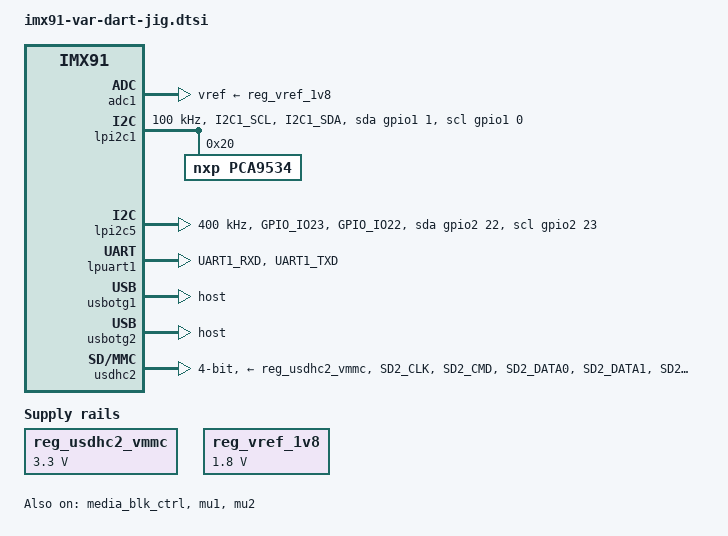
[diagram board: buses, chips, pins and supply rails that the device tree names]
// SPDX-License-Identifier: (GPL-2.0+ OR MIT)
/*
 * Copyright 2024 NXP
 * Copyright 2025 Variscite Ltd.
 */

/ {
	aliases {
		gpio4 = &pca9534;
		ethernet0 = &eqos;
	};

	chosen {
		stdout-path = &lpuart1;
	};

	reg_usdhc2_vmmc: regulator-usdhc2 {
		compatible = "regulator-fixed";
		regulator-name = "VSD_3V3";
		regulator-min-microvolt = <3300000>;
		regulator-max-microvolt = <3300000>;
	};

	reg_vref_1v8: regulator-adc-vref {
		compatible = "regulator-fixed";
		regulator-name = "vref_1v8";
		regulator-min-microvolt = <1800000>;
		regulator-max-microvolt = <1800000>;
	};

	reserved-memory {
		#address-cells = <2>;
		#size-cells = <2>;
		ranges;

		linux,cma {
			compatible = "shared-dma-pool";
			reusable;
			alloc-ranges = <0 0x80000000 0 0x40000000>;
			size = <0 0x10000000>;
			linux,cma-default;
		};

		ele_reserved: ele-reserved@95f00000 {
			compatible = "shared-dma-pool";
			reg = <0 0x95f00000 0 0x100000>;
			no-map;
		};
	};
};

&adc1 {
	vref-supply = <&reg_vref_1v8>;
	status = "okay";
};

/* Use external instead of internal RTC */
&bbnsm_rtc {
	status = "disabled";
};

&ele_fw2 {
	memory-region = <&ele_reserved>;
};

&iomuxc {
	pinctrl-names = "default";
	pinctrl-0 = <&pinctrl_hog>;
	
	pinctrl_hog: hoggrp {
		fsl,pins = <
			MX91_PAD_WDOG_ANY__GPIO1_IO15			0x400011FE
			MX91_PAD_GPIO_IO21__GPIO2_IO21			0x400011FE
			MX91_PAD_PDM_CLK__GPIO1_IO8			0x400011FE
			MX91_PAD_PDM_BIT_STREAM0__GPIO1_IO9		0x400011FE
			MX91_PAD_PDM_BIT_STREAM1__GPIO1_IO10            0x400011FE
			MX91_PAD_SD2_CD_B__GPIO3_IO0                   0x400011FE
			MX91_PAD_GPIO_IO05__GPIO2_IO5                  0x400011FE
			MX91_PAD_GPIO_IO04__GPIO2_IO4                  0x400011FE
			MX91_PAD_GPIO_IO20__GPIO2_IO20                  0x400011FE

			MX91_PAD_GPIO_IO18__GPIO2_IO18			0x400011FE
			MX91_PAD_GPIO_IO10__GPIO2_IO10			0x400011FE
			MX91_PAD_GPIO_IO25__GPIO2_IO25			0x400011FE            
			MX91_PAD_GPIO_IO17__GPIO2_IO17			0x400011FE
			MX91_PAD_GPIO_IO07__GPIO2_IO7			0x400011FE
			MX91_PAD_GPIO_IO06__GPIO2_IO6			0x400011FE
			MX91_PAD_GPIO_IO08__GPIO2_IO8			0x400011FE
			MX91_PAD_GPIO_IO24__GPIO2_IO24			0x400011FE
			MX91_PAD_GPIO_IO19__GPIO2_IO19			0x400011FE
			MX91_PAD_GPIO_IO16__GPIO2_IO16			0x400011FE
			MX91_PAD_GPIO_IO00__GPIO2_IO0			0x400011FE
			MX91_PAD_GPIO_IO01__GPIO2_IO1			0x400011FE
			MX91_PAD_GPIO_IO03__GPIO2_IO3			0x400011FE
			MX91_PAD_GPIO_IO02__GPIO2_IO2			0x400011FE
			MX91_PAD_GPIO_IO26__GPIO2_IO26			0x400011FE
			MX91_PAD_GPIO_IO27__GPIO2_IO27			0x400011FE
			MX91_PAD_GPIO_IO11__GPIO2_IO11			0x400011FE
			MX91_PAD_GPIO_IO09__GPIO2_IO9			0x400011FE

			MX91_PAD_CCM_CLKO2__GPIO3_IO27			0x400011FE
			MX91_PAD_ENET2_RD3__GPIO4_IO27			0x400011FE
			MX91_PAD_ENET2_TD2__GPIO4_IO17			0x400011FE
			MX91_PAD_ENET2_TXC__GPIO4_IO21			0x400011FE
			MX91_PAD_ENET2_RX_CTL__GPIO4_IO22		0x400011FE
			MX91_PAD_ENET2_RD0__GPIO4_IO24			0x400011FE
			MX91_PAD_ENET2_RD0__GPIO4_IO24			0x400011FE
			MX91_PAD_CCM_CLKO1__GPIO3_IO26			0x400011FE
			MX91_PAD_ENET2_TD1__GPIO4_IO18			0x400011FE
			MX91_PAD_ENET2_TD3__GPIO4_IO16			0x400011FE
			MX91_PAD_ENET2_RXC__GPIO4_IO23			0x400011FE
			MX91_PAD_ENET2_RD2__GPIO4_IO26			0x400011FE
			MX91_PAD_ENET2_TD0__GPIO4_IO19			0x400011FE
			MX91_PAD_CCM_CLKO3__GPIO4_IO28			0x400011FE
			MX91_PAD_ENET2_RD1__GPIO4_IO25			0x400011FE
			MX91_PAD_ENET2_TX_CTL__GPIO4_IO20		0x400011FE
		>;
	};

	pinctrl_lpi2c1: lpi2c1grp {
		fsl,pins = <
			MX91_PAD_I2C1_SCL__LPI2C1_SCL			0x40000b9e
			MX91_PAD_I2C1_SDA__LPI2C1_SDA			0x40000b9e
		>;
	};

	pinctrl_lpi2c1_gpio: lpi2c1grp-gpio {
		fsl,pins = <
			MX91_PAD_I2C1_SCL__GPIO1_IO0			0x31e
			MX91_PAD_I2C1_SDA__GPIO1_IO1			0x31e
		>;
	};

	pinctrl_lpi2c5: lpi2c5grp {
		fsl,pins = <
			MX91_PAD_GPIO_IO23__LPI2C5_SCL			0x40000b9e
			MX91_PAD_GPIO_IO22__LPI2C5_SDA			0x40000b9e
		>;
	};

	pinctrl_lpi2c5_gpio: lpi2c5grp-gpio {
		fsl,pins = <
			MX91_PAD_GPIO_IO23__GPIO2_IO23			0x31e
			MX91_PAD_GPIO_IO22__GPIO2_IO22			0x31e
		>;
	};

	pinctrl_uart1: uart1grp {
		fsl,pins = <
			MX91_PAD_UART1_RXD__LPUART1_RX			0x31e
			MX91_PAD_UART1_TXD__LPUART1_TX			0x31e
		>;
	};

	pinctrl_usdhc2: usdhc2grp {
		fsl,pins = <
			MX91_PAD_SD2_CLK__USDHC2_CLK			0x1582
			MX91_PAD_SD2_CMD__USDHC2_CMD			0x1382
			MX91_PAD_SD2_DATA0__USDHC2_DATA0		0x1382
			MX91_PAD_SD2_DATA1__USDHC2_DATA1		0x1382
			MX91_PAD_SD2_DATA2__USDHC2_DATA2		0x1382
			MX91_PAD_SD2_DATA3__USDHC2_DATA3		0x1382
			MX91_PAD_SD2_VSELECT__USDHC2_VSELECT		0x51e
		>;
	};

	pinctrl_usdhc2_100mhz: usdhc2-100mhzgrp {
		fsl,pins = <
			MX91_PAD_SD2_CLK__USDHC2_CLK			0x158e
			MX91_PAD_SD2_CMD__USDHC2_CMD			0x138e
			MX91_PAD_SD2_DATA0__USDHC2_DATA0		0x138e
			MX91_PAD_SD2_DATA1__USDHC2_DATA1		0x138e
			MX91_PAD_SD2_DATA2__USDHC2_DATA2		0x138e
			MX91_PAD_SD2_DATA3__USDHC2_DATA3		0x138e
			MX91_PAD_SD2_VSELECT__USDHC2_VSELECT		0x51e
		>;
	};

	pinctrl_usdhc2_200mhz: usdhc2-200mhzgrp {
		fsl,pins = <
			MX91_PAD_SD2_CLK__USDHC2_CLK			0x15fe
			MX91_PAD_SD2_CMD__USDHC2_CMD			0x13fe
			MX91_PAD_SD2_DATA0__USDHC2_DATA0		0x13fe
			MX91_PAD_SD2_DATA1__USDHC2_DATA1		0x13fe
			MX91_PAD_SD2_DATA2__USDHC2_DATA2		0x13fe
			MX91_PAD_SD2_DATA3__USDHC2_DATA3		0x13fe
			MX91_PAD_SD2_VSELECT__USDHC2_VSELECT		0x51e
		>;
	};

	pinctrl_usdhc2_sleep: usdhc2grpsleep {
		fsl,pins = <
			MX91_PAD_SD2_CLK__GPIO3_IO1			0x51e
			MX91_PAD_SD2_CMD__GPIO3_IO2			0x51e
			MX91_PAD_SD2_DATA0__GPIO3_IO3			0x51e
			MX91_PAD_SD2_DATA1__GPIO3_IO4			0x51e
			MX91_PAD_SD2_DATA2__GPIO3_IO5			0x51e
			MX91_PAD_SD2_DATA3__GPIO3_IO6			0x51e
			MX91_PAD_SD2_VSELECT__GPIO3_IO19		0x51e
		>;
	};

	pinctrl_lpspi8: lpspi8grp {
		fsl,pins = <
			MX91_PAD_GPIO_IO12__LPSPI8_PCS0			0x31e
			MX91_PAD_GPIO_IO13__LPSPI8_SIN			0x31e
			MX91_PAD_GPIO_IO14__LPSPI8_SOUT			0x31e
			MX91_PAD_GPIO_IO15__LPSPI8_SCK			0x31e
		>;
	};
};

&lpi2c1 {
	#address-cells = <1>;
	#size-cells = <0>;
	clock-frequency = <100000>;
	pinctrl-names = "default", "sleep", "gpio";
	pinctrl-0 = <&pinctrl_lpi2c1>;
	pinctrl-1 = <&pinctrl_lpi2c1_gpio>;
	pinctrl-2 = <&pinctrl_lpi2c1_gpio>;
	scl-gpios = <&gpio1 0 GPIO_ACTIVE_HIGH>;
	sda-gpios = <&gpio1 1 GPIO_ACTIVE_HIGH>;
	status = "okay";

	pca9534: gpio@20 {
		status = "okay";
		compatible = "nxp,pca9534";
		reg = <0x20>;
		gpio-controller;
		#gpio-cells = <2>;
	};
};

&lpi2c5 {
        #address-cells = <1>;
        #size-cells = <0>;
        clock-frequency = <400000>;
        pinctrl-names = "default", "sleep", "gpio";
        pinctrl-0 = <&pinctrl_lpi2c5>;
        pinctrl-1 = <&pinctrl_lpi2c5_gpio>;
        pinctrl-2 = <&pinctrl_lpi2c5_gpio>;
        scl-gpios = <&gpio2 23 GPIO_ACTIVE_HIGH>;
        sda-gpios = <&gpio2 22 GPIO_ACTIVE_HIGH>;
        status = "okay";
};

&lpspi8 {
	cs-gpios = <0>;
	num-cs = <1>;
};

/* Console */
&lpuart1 {
	pinctrl-names = "default";
	pinctrl-0 = <&pinctrl_uart1>;
	status = "okay";
};

&media_blk_ctrl {
	status = "okay";
};

&mu1 {
	status = "okay";
};

&mu2 {
	status = "okay";
};

&usbotg1 {
	disable-over-current;
	dr_mode = "host";
	status = "okay";
};

&usbotg2 {
	disable-over-current;
	dr_mode = "host";
	status = "okay";
};

/* SD */
&usdhc2 {
	pinctrl-names = "default", "state_100mhz", "state_200mhz", "sleep";
	pinctrl-0 = <&pinctrl_usdhc2>;
	pinctrl-1 = <&pinctrl_usdhc2_100mhz>;
	pinctrl-2 = <&pinctrl_usdhc2_200mhz>;
	pinctrl-3 = <&pinctrl_usdhc2_sleep>;
	broken-cd;
	fsl,cd-gpio-wakeup-disable;
	vmmc-supply = <&reg_usdhc2_vmmc>;
	bus-width = <4>;
	status = "okay";
	no-sdio;
	no-mmc;
};
